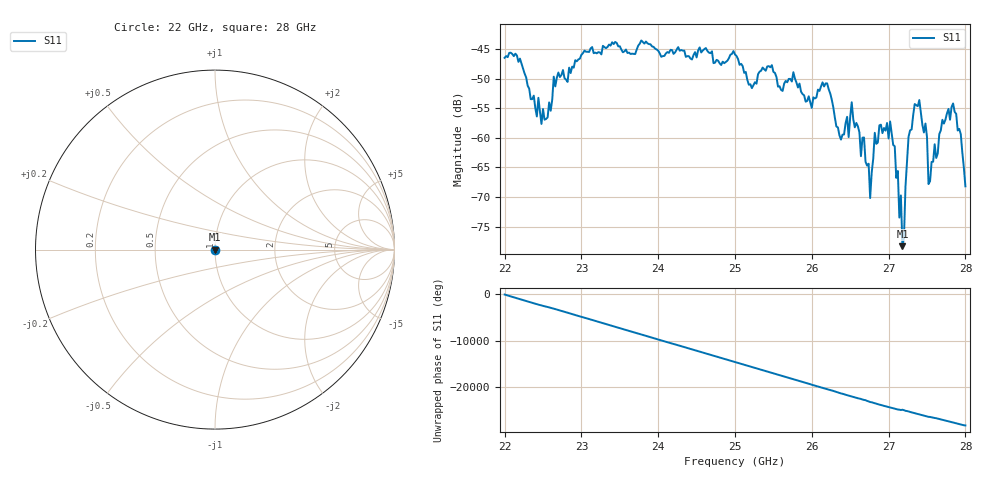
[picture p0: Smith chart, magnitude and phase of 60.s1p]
#  HZ  S  RI  R  50.00
! Rohde & Schwarz ZVA40 4Ports - Version 3.90 - 1145.1110k42 SN: 100403
! Date: 2023-10-04 10:50:31
! Measurement: S12
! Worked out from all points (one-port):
!   301 points, 22 GHz to 28 GHz, reference 50 ohm
!   lowest |S11| = -78.3 dB at 27.18 GHz (marker M1), VSWR 1.00, Z = 50 + j0.00998 ohm
!   |S11| at or under -10 dB: start of sweep to end of sweep
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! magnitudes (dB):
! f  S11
! 22 GHz  -46.5
! 22.2 GHz  -46.6
! 22.48 GHz  -57.7
! 22.76 GHz  -48.6
! 23.5 GHz  -44.5
! 24.26 GHz  -44.7
! 25 GHz  -45.9
! 25.22 GHz  -51.6
! 25.76 GHz  -48.9
! 26 GHz  -54.9
! 26.2 GHz  -50.8
! 26.38 GHz  -60.3
! 26.5 GHz  -56.5
! 26.64 GHz  -63.1
! 26.68 GHz  -59.9
! 26.76 GHz  -70.2
! 26.82 GHz  -59.2
! 27.02 GHz  -57.2
! 27.12 GHz  -65.6
! 27.14 GHz  -73.5
! 27.16 GHz  -69.7
! 27.18 GHz  -78.3
! 27.26 GHz  -59.8
! 27.4 GHz  -53.6
! 27.5 GHz  -59.9
! 27.52 GHz  -67.8
! 27.84 GHz  -54.2
! 28 GHz  -68.2
